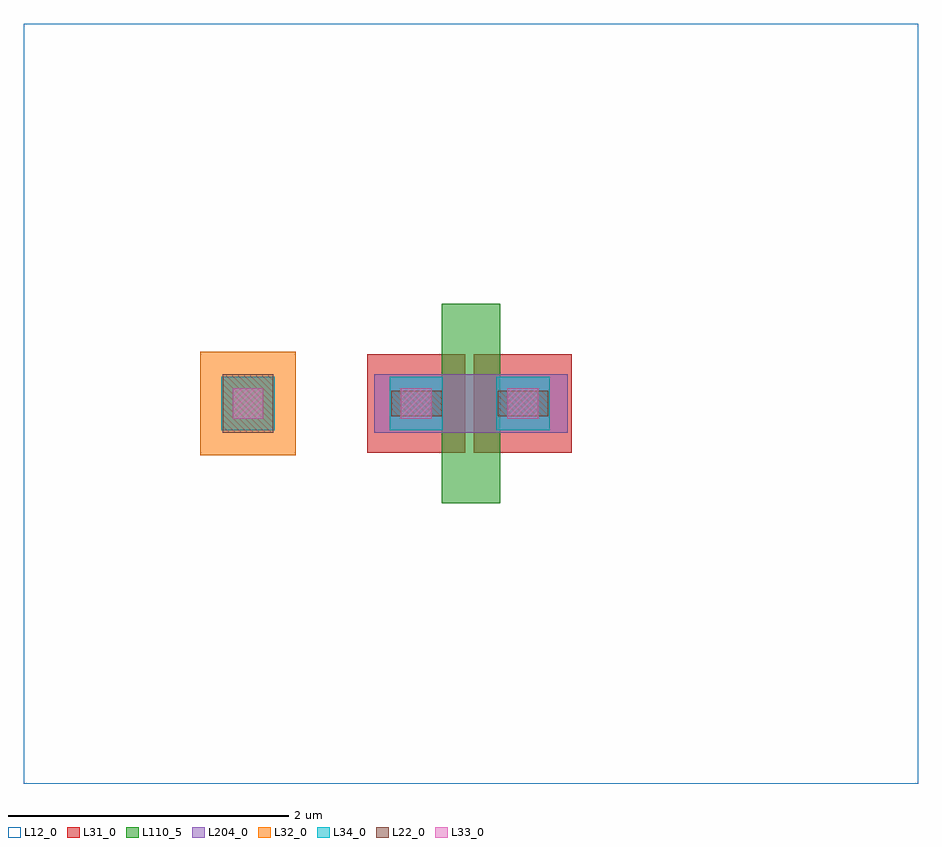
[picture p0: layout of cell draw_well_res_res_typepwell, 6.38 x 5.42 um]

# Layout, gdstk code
import gdstk
lib = gdstk.Library(unit=1e-6, precision=1e-09)
def R(c, l, rs):  # rectangles x0, y0, x1, y1
    for r in rs: c.add(gdstk.rectangle(r[:2], r[2:], *l))
L12_0 = (12, 0)
L22_0 = (22, 0)
L31_0 = (31, 0)
L32_0 = (32, 0)
L33_0 = (33, 0)
L34_0 = (34, 0)
L110_5 = (110, 5)
L204_0 = (204, 0)

draw_well_res_res_typepw = lib.new_cell('draw_well_res_res_typepwell')
R(draw_well_res_res_typepw, L12_0, [(-2.98,-2,3.4,3.42)])
R(draw_well_res_res_typepw, L22_0, [(-1.56,0.5,-1.2,0.92), (-0.36,0.62,0,0.8), (0.4,0.62,0.76,0.8)])
R(draw_well_res_res_typepw, L31_0, [(-0.53,0.36,0.17,1.06), (0.23,0.36,0.93,1.06)])
R(draw_well_res_res_typepw, L32_0, [(-1.72,0.34,-1.04,1.08)])
R(draw_well_res_res_typepw, L33_0, [(-1.49,0.6,-1.27,0.82), (-0.29,0.6,-0.07,0.82), (0.47,0.6,0.69,0.82)])
R(draw_well_res_res_typepw, L34_0, [(-1.57,0.52,-1.19,0.9), (-0.37,0.52,0.01,0.9), (0.39,0.52,0.77,0.9)])
R(draw_well_res_res_typepw, L110_5, [(0,0,0.42,1.42)])
R(draw_well_res_res_typepw, L204_0, [(-0.48,0.5,0.9,0.92)])

lib.write_gds('draw_well_res_res_typepwell.gds')
